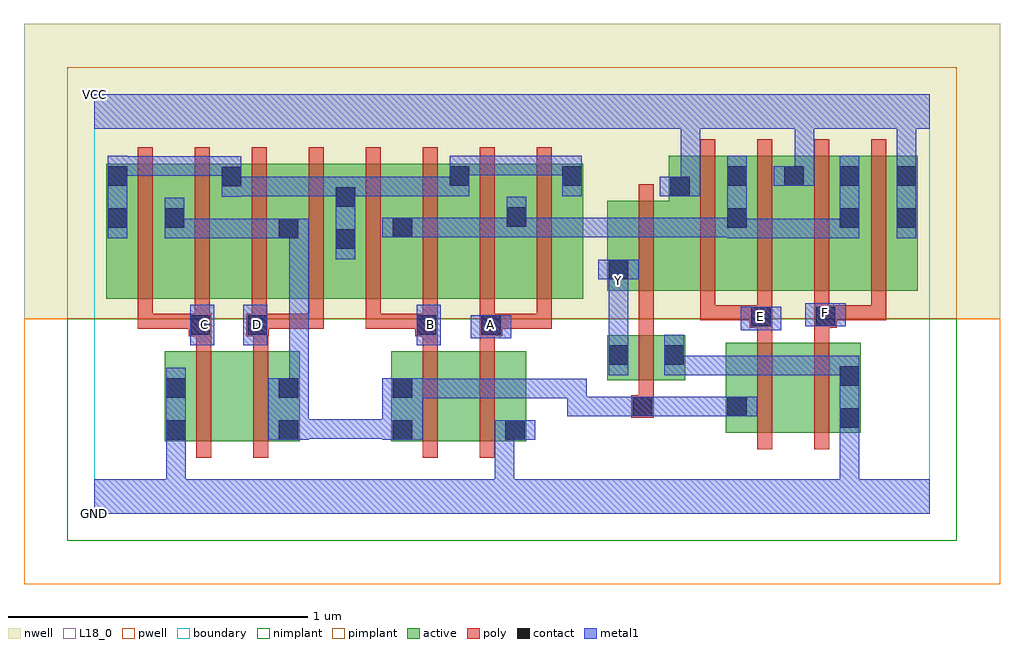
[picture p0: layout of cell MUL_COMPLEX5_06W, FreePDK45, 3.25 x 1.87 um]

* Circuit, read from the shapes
.subckt MUL_COMPLEX5_06W A B C D E F GND VCC Y
M1 n1 C GND VSUBS nfet w=0.3u l=0.05u
M2 n2 D n1 VSUBS nfet w=0.3u l=0.05u
M3 n3 B n2 VSUBS nfet w=0.3u l=0.05u
M4 GND A n3 VSUBS nfet w=0.3u l=0.05u
M5 GND n2 Y VSUBS nfet w=0.15u l=0.05u
M6 n4 E n2 VSUBS nfet w=0.3u l=0.05u
M7 GND F n4 VSUBS nfet w=0.3u l=0.05u
M8 n2 C n5 n6 pfet w=0.45u l=0.05u m=2
M9 n2 D n5 n6 pfet w=0.45u l=0.05u m=2
M10 n7 B n5 n6 pfet w=0.45u l=0.05u m=2
M11 n7 A n5 n6 pfet w=0.45u l=0.05u m=2
M12 VCC n2 Y n6 pfet w=0.3u l=0.05u
M13 n7 E VCC n6 pfet w=0.45u l=0.05u m=2
M14 n7 F VCC n6 pfet w=0.45u l=0.05u m=2
.ends

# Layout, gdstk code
import gdstk
lib = gdstk.Library(unit=1e-6, precision=1e-09)
def R(c, l, rs):  # rectangles x0, y0, x1, y1
    for r in rs: c.add(gdstk.rectangle(r[:2], r[2:], *l))
def A(c, l, x, y, w, h, nx, ny, dx, dy):  # array of equal rectangles
    R(c, l, [(x+i*dx, y+j*dy, x+i*dx+w, y+j*dy+h) for i in range(nx) for j in range(ny)])
active = (1, 0)
pwell = (2, 0)
nwell = (3, 0)
nimplant = (4, 0)
pimplant = (5, 0)
poly = (9, 0)
contact = (10, 0)
metal1 = (11, 0)
L18_0 = (18, 0)
boundary = (235, 0)

mul_complex5_06w = lib.new_cell('MUL_COMPLEX5_06W')
A(mul_complex5_06w, active, 0.04, 0.717, 0.265, 0.45, 7, 1, 0.19, 0)
R(mul_complex5_06w, active, [(0.235,0.242,0.31,0.542), (0.235,0.242,0.46,0.542), (0.46,0.242,0.685,0.542), (0.61,0.242,0.685,0.542), (0.99,0.242,1.065,0.542), (0.99,0.242,1.215,0.542), (1.215,0.242,1.44,0.542), (1.365,0.242,1.44,0.542), (2.105,0.27,2.18,0.57), (2.105,0.27,2.33,0.57), (2.33,0.27,2.555,0.57), (2.48,0.27,2.555,0.57), (1.71,0.445,1.785,0.595), (1.71,0.445,1.97,0.595), (1.895,0.445,1.97,0.595), (0.04,0.717,0.115,1.167), (0.23,0.717,0.305,1.07), (0.61,0.717,0.685,1.07), (1.37,0.717,1.63,1.167), (1.71,0.745,1.99,1.045), (1.915,0.745,2.18,1.195), (2.105,0.745,2.37,1.195), (2.295,0.745,2.555,1.195), (2.48,0.745,2.745,1.195), (2.67,0.745,2.745,1.195), (1.71,0.777,1.785,0.94), (0.42,0.857,0.495,1.167), (0.8,0.857,0.875,1.155), (0.99,0.857,1.065,1.07), (1.18,0.857,1.255,1.167), (1.37,0.857,1.445,1.07), (1.555,0.857,1.63,1.167), (2.105,0.857,2.18,1.195), (2.295,0.857,2.37,1.195), (2.48,0.857,2.555,1.195), (1.915,0.865,1.99,1.13)])
R(mul_complex5_06w, pwell, [(-0.235,-0.235,3.02,0.65)])
R(mul_complex5_06w, nwell, [(-0.235,0.65,3.02,1.635)])
R(mul_complex5_06w, nimplant, [(-0.09,-0.09,2.875,0.65)])
R(mul_complex5_06w, pimplant, [(-0.09,0.65,2.875,1.49)])
A(mul_complex5_06w, poly, 0.145, 0.617, 0.05, 0.095, 8, 1, 0.19, 0)
A(mul_complex5_06w, poly, 2.02, 0.645, 0.05, 0.095, 4, 1, 0.19, 0)
A(mul_complex5_06w, poly, 0.145, 0.662, 0.05, 0.56, 8, 1, 0.19, 0)
A(mul_complex5_06w, poly, 2.02, 0.69, 0.05, 0.56, 4, 1, 0.19, 0)
R(mul_complex5_06w, poly, [(0.34,0.187,0.39,0.597), (0.53,0.187,0.58,0.597), (1.095,0.187,1.145,0.597), (1.285,0.187,1.335,0.597), (2.21,0.215,2.26,0.625), (2.4,0.215,2.45,0.625), (1.79,0.32,1.865,0.395), (1.815,0.345,1.865,0.44), (1.815,0.39,1.865,0.65), (0.34,0.547,0.39,0.642), (0.53,0.547,0.58,0.642), (1.095,0.547,1.145,0.642), (1.285,0.547,1.335,0.642), (2.21,0.575,2.26,0.67), (2.4,0.575,2.45,0.67), (0.315,0.592,0.39,0.667), (0.507,0.592,0.582,0.667), (1.07,0.592,1.145,0.667), (1.285,0.592,1.36,0.667), (1.815,0.6,1.865,0.695), (0.145,0.617,0.195,0.667), (0.145,0.617,0.365,0.667), (0.315,0.617,0.365,0.667), (0.315,0.617,0.365,0.667), (0.532,0.617,0.765,0.667), (0.715,0.617,0.765,0.667), (0.715,0.617,0.765,0.667), (0.715,0.617,0.765,0.667), (0.905,0.617,0.955,0.667), (0.905,0.617,1.12,0.667), (1.07,0.617,1.12,0.667), (1.07,0.617,1.12,0.667), (1.31,0.617,1.525,0.667), (1.475,0.617,1.525,0.667), (1.475,0.617,1.525,0.667), (1.475,0.617,1.525,0.667), (2.185,0.62,2.26,0.695), (2.4,0.62,2.475,0.695), (1.815,0.645,1.865,0.74), (1.815,0.645,1.865,0.695), (2.02,0.645,2.07,0.695), (2.02,0.645,2.235,0.695), (2.185,0.645,2.235,0.695), (2.185,0.645,2.235,0.695), (2.425,0.645,2.64,0.695), (2.59,0.645,2.64,0.695), (2.59,0.645,2.64,0.695), (2.59,0.645,2.64,0.695), (1.815,0.69,1.865,1.1)])
R(mul_complex5_06w, contact, [(0.24,0.247,0.305,0.312), (0.615,0.247,0.68,0.312), (0.995,0.247,1.06,0.312), (1.37,0.247,1.435,0.312), (2.485,0.287,2.55,0.352), (1.795,0.325,1.86,0.39), (2.11,0.325,2.175,0.39), (0.24,0.387,0.305,0.452), (0.615,0.387,0.68,0.452), (0.995,0.387,1.06,0.452), (2.485,0.427,2.55,0.492), (1.715,0.497,1.78,0.562), (1.9,0.497,1.965,0.562), (0.32,0.597,0.385,0.662), (0.512,0.597,0.577,0.662), (1.075,0.597,1.14,0.662), (1.29,0.597,1.355,0.662), (2.19,0.625,2.255,0.69), (2.405,0.625,2.47,0.69), (1.715,0.782,1.78,0.847), (0.805,0.885,0.87,0.95), (0.615,0.92,0.68,0.985), (0.995,0.922,1.06,0.987), (0.045,0.955,0.11,1.02), (0.235,0.955,0.3,1.02), (2.11,0.955,2.175,1.02), (2.485,0.955,2.55,1.02), (2.675,0.955,2.74,1.02), (1.375,0.957,1.44,1.022), (0.805,1.025,0.87,1.09), (1.92,1.06,1.985,1.125), (0.425,1.092,0.49,1.157), (0.045,1.095,0.11,1.16), (1.185,1.095,1.25,1.16), (1.56,1.095,1.625,1.16), (2.11,1.095,2.175,1.16), (2.3,1.095,2.365,1.16), (2.485,1.095,2.55,1.16), (2.675,1.095,2.74,1.16)])
R(mul_complex5_06w, metal1, [(0,0,2.785,0.115), (0.24,0.05,0.305,0.115), (0.24,0.05,0.305,0.115), (0.24,0.05,0.305,0.115), (0.24,0.05,0.305,0.115), (0.24,0.05,0.305,0.277), (1.335,0.05,1.4,0.115), (1.335,0.05,1.4,0.115), (1.335,0.05,1.4,0.252), (2.485,0.05,2.55,0.317), (1.335,0.187,1.4,0.252), (1.335,0.187,1.4,0.312), (0.24,0.212,0.305,0.487), (0.58,0.247,0.715,0.452), (0.96,0.247,1.095,0.452), (1.335,0.247,1.47,0.312), (0.65,0.25,0.715,0.315), (0.65,0.25,0.715,0.315), (0.65,0.25,0.887,0.315), (0.822,0.25,0.887,0.315), (0.822,0.25,0.887,0.315), (0.822,0.25,0.887,0.315), (0.822,0.25,1.025,0.315), (2.485,0.252,2.55,0.317), (2.485,0.252,2.55,0.317), (2.485,0.252,2.55,0.317), (2.485,0.252,2.55,0.317), (2.485,0.252,2.55,0.527), (1.577,0.325,1.642,0.39), (1.577,0.325,1.745,0.39), (1.577,0.325,1.642,0.45), (1.68,0.325,1.745,0.39), (1.68,0.325,1.745,0.39), (1.68,0.325,1.745,0.39), (1.68,0.325,1.825,0.39), (1.76,0.325,1.895,0.39), (1.83,0.325,1.895,0.39), (1.83,0.325,1.895,0.39), (1.83,0.325,2.032,0.39), (1.967,0.325,2.032,0.39), (1.967,0.325,2.14,0.39), (2.075,0.325,2.21,0.39), (1.03,0.385,1.095,0.45), (1.03,0.385,1.095,0.45), (1.03,0.385,1.232,0.45), (1.167,0.385,1.232,0.45), (1.167,0.385,1.4,0.45), (1.335,0.385,1.4,0.45), (1.335,0.385,1.4,0.45), (1.335,0.385,1.4,0.45), (1.335,0.385,1.607,0.45), (1.542,0.385,1.607,0.45), (1.542,0.385,1.642,0.45), (1.577,0.385,1.642,0.45), (0.65,0.387,0.715,0.452), (0.65,0.387,0.715,0.452), (0.65,0.387,0.715,0.985), (1.715,0.462,1.78,0.597), (1.9,0.462,2.032,0.527), (1.9,0.462,1.965,0.597), (1.967,0.462,2.032,0.527), (1.967,0.462,2.14,0.527), (2.075,0.462,2.14,0.527), (2.075,0.462,2.297,0.527), (2.232,0.462,2.297,0.527), (2.232,0.462,2.347,0.527), (2.282,0.462,2.347,0.527), (2.282,0.462,2.435,0.527), (2.37,0.462,2.435,0.527), (2.37,0.462,2.55,0.527), (2.485,0.462,2.55,0.527), (2.485,0.462,2.55,0.527), (2.485,0.462,2.55,0.527), (2.485,0.462,2.55,0.527), (1.715,0.532,1.78,0.777), (0.32,0.562,0.4,0.697), (0.497,0.562,0.577,0.697), (1.075,0.562,1.155,0.697), (1.255,0.585,1.39,0.662), (2.155,0.612,2.29,0.69), (2.37,0.625,2.505,0.702), (1.715,0.712,1.78,0.847), (1.68,0.782,1.815,0.847), (1.715,0.782,1.78,0.847), (0.805,0.85,0.87,1.125), (0.045,0.92,0.11,1.195), (0.235,0.92,0.3,0.985), (0.235,0.92,0.3,0.985), (0.235,0.92,0.3,1.055), (0.235,0.92,0.507,0.985), (0.442,0.92,0.507,0.985), (0.442,0.92,0.507,0.985), (0.442,0.92,0.507,0.985), (0.442,0.92,0.645,0.985), (0.58,0.92,0.715,0.985), (2.11,0.92,2.175,1.195), (2.11,0.92,2.297,0.985), (2.232,0.92,2.297,0.985), (2.232,0.92,2.347,0.985), (2.282,0.92,2.347,0.985), (2.282,0.92,2.435,0.985), (2.37,0.92,2.435,0.985), (2.37,0.92,2.55,0.985), (2.485,0.92,2.55,1.195), (2.675,0.92,2.74,1.195), (0.96,0.922,1.095,0.987), (1.03,0.922,1.095,0.987), (1.03,0.922,1.095,0.987), (1.03,0.922,1.262,0.987), (1.197,0.922,1.262,0.987), (1.197,0.922,1.44,0.987), (1.375,0.922,1.44,0.987), (1.375,0.922,1.44,0.987), (1.375,0.922,1.44,1.057), (1.375,0.922,1.607,0.987), (1.542,0.922,1.607,0.987), (1.542,0.922,1.607,0.987), (1.542,0.922,1.607,0.987), (1.542,0.922,1.607,0.987), (1.542,0.922,1.607,0.987), (1.542,0.922,1.745,0.987), (1.68,0.922,1.745,0.987), (1.68,0.922,1.895,0.987), (1.83,0.922,1.895,0.987), (1.83,0.922,2.002,0.987), (1.937,0.922,2.002,0.987), (1.937,0.922,2.002,0.987), (1.937,0.922,2.002,0.987), (1.937,0.922,2.032,0.987), (1.967,0.922,2.032,0.987), (1.967,0.922,2.175,0.987), (0.425,1.057,0.49,1.192), (0.425,1.06,0.49,1.125), (0.425,1.06,0.49,1.125), (0.425,1.06,0.732,1.125), (0.667,1.06,0.732,1.125), (0.667,1.06,0.732,1.125), (0.667,1.06,0.732,1.125), (0.667,1.06,0.87,1.125), (0.805,1.06,0.87,1.125), (0.805,1.06,0.87,1.125), (0.805,1.06,1.025,1.125), (0.96,1.06,1.025,1.125), (0.96,1.06,1.025,1.125), (0.96,1.06,1.025,1.125), (0.96,1.06,1.25,1.125), (1.185,1.06,1.25,1.195), (1.56,1.06,1.625,1.195), (1.885,1.06,2.02,1.125), (1.955,1.06,2.02,1.125), (1.955,1.06,2.02,1.125), (1.955,1.06,2.02,1.35), (2.265,1.095,2.4,1.16), (2.335,1.095,2.4,1.35), (0.045,1.127,0.11,1.192), (0.045,1.127,0.11,1.192), (0.045,1.127,0.352,1.192), (0.287,1.127,0.352,1.192), (0.287,1.127,0.352,1.192), (0.287,1.127,0.352,1.192), (0.287,1.127,0.49,1.192), (1.185,1.13,1.4,1.195), (1.335,1.13,1.4,1.195), (1.335,1.13,1.4,1.195), (1.335,1.13,1.4,1.195), (1.335,1.13,1.607,1.195), (1.542,1.13,1.607,1.195), (1.542,1.13,1.625,1.195), (2.675,1.13,2.74,1.35), (0,1.285,2.785,1.4), (2.335,1.285,2.4,1.35), (2.335,1.285,2.4,1.35), (2.675,1.285,2.74,1.35), (2.675,1.285,2.74,1.35)])
R(mul_complex5_06w, L18_0, [(0,0,2.785,0.115), (0.24,0.05,0.305,0.115), (0.24,0.05,0.305,0.115), (0.24,0.05,0.305,0.115), (0.24,0.05,0.305,0.115), (0.24,0.05,0.305,0.277), (1.335,0.05,1.4,0.115), (1.335,0.05,1.4,0.115), (1.335,0.05,1.4,0.252), (2.485,0.05,2.55,0.317), (1.335,0.187,1.4,0.252), (1.335,0.187,1.4,0.312), (0.24,0.212,0.305,0.487), (1.335,0.247,1.47,0.312), (2.485,0.252,2.55,0.317), (2.485,0.252,2.55,0.317), (2.485,0.252,2.55,0.317), (2.485,0.252,2.55,0.317), (2.485,0.252,2.55,0.527), (1.715,0.462,1.78,0.597), (1.9,0.462,1.965,0.597), (1.9,0.462,2.032,0.527), (1.967,0.462,2.032,0.527), (1.967,0.462,2.14,0.527), (2.075,0.462,2.14,0.527), (2.075,0.462,2.297,0.527), (2.232,0.462,2.297,0.527), (2.232,0.462,2.347,0.527), (2.282,0.462,2.347,0.527), (2.282,0.462,2.435,0.527), (2.37,0.462,2.435,0.527), (2.37,0.462,2.55,0.527), (2.485,0.462,2.55,0.527), (2.485,0.462,2.55,0.527), (2.485,0.462,2.55,0.527), (2.485,0.462,2.55,0.527), (1.715,0.532,1.78,0.777), (0.32,0.562,0.4,0.697), (0.497,0.562,0.577,0.697), (1.075,0.562,1.155,0.697), (1.255,0.585,1.39,0.662), (0.335,0.597,0.4,0.662), (0.512,0.597,0.577,0.662), (1.09,0.597,1.155,0.662), (1.29,0.597,1.355,0.662), (2.155,0.612,2.29,0.69), (2.19,0.625,2.255,0.69), (2.37,0.625,2.505,0.702), (2.405,0.637,2.47,0.702), (1.715,0.712,1.78,0.847), (1.715,0.747,1.78,0.812), (1.68,0.782,1.815,0.847), (1.715,0.782,1.78,0.847), (2.675,0.92,2.74,1.195), (1.885,1.06,2.02,1.125), (1.955,1.06,2.02,1.125), (1.955,1.06,2.02,1.125), (1.955,1.06,2.02,1.35), (2.265,1.095,2.4,1.16), (2.335,1.095,2.4,1.35), (2.675,1.13,2.74,1.35), (0,1.285,2.785,1.4), (2.335,1.285,2.4,1.35), (2.335,1.285,2.4,1.35), (2.675,1.285,2.74,1.35), (2.675,1.285,2.74,1.35)])
R(mul_complex5_06w, boundary, [(0,0,2.785,1.4)])
mul_complex5_06w.add(gdstk.Label('A', (1.322,0.63), layer=11, texttype=0))
mul_complex5_06w.add(gdstk.Label('B', (1.122,0.63), layer=11, texttype=0))
mul_complex5_06w.add(gdstk.Label('C', (0.367,0.63), layer=11, texttype=0))
mul_complex5_06w.add(gdstk.Label('D', (0.545,0.63), layer=11, texttype=0))
mul_complex5_06w.add(gdstk.Label('E', (2.222,0.657), layer=11, texttype=0))
mul_complex5_06w.add(gdstk.Label('F', (2.437,0.67), layer=11, texttype=0))
mul_complex5_06w.add(gdstk.Label('Y', (1.747,0.78), layer=11, texttype=0))
mul_complex5_06w.add(gdstk.Label('VCC', (0,1.4), layer=11, texttype=0))
mul_complex5_06w.add(gdstk.Label('GND', (0,0), layer=11, texttype=0))

lib.write_gds('MUL_COMPLEX5_06W.gds')
